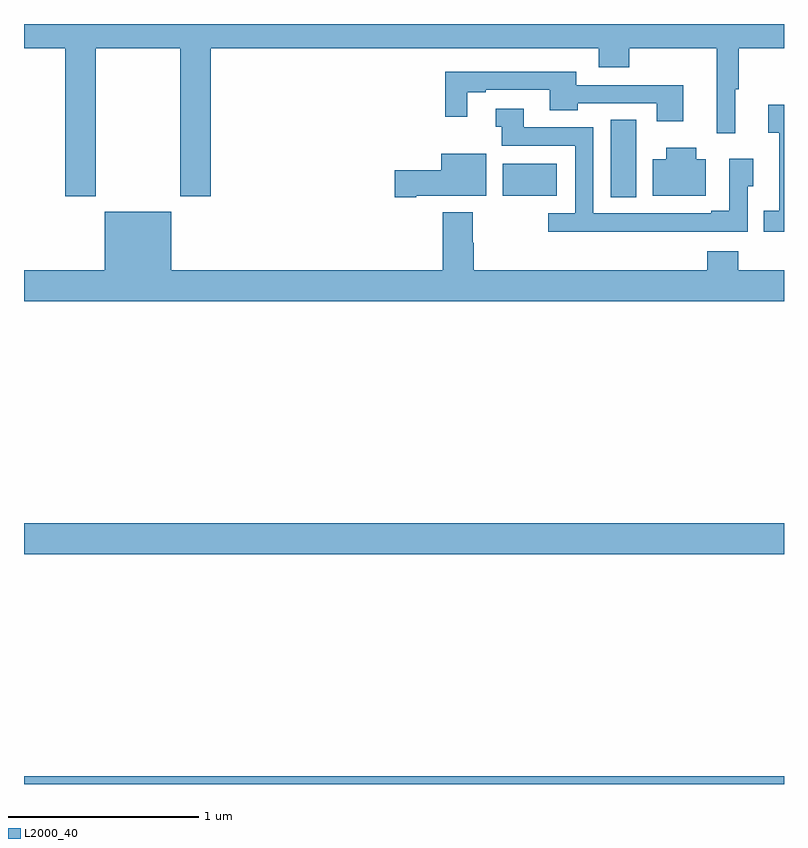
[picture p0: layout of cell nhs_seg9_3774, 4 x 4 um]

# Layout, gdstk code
import gdstk
lib = gdstk.Library(unit=1e-6, precision=1e-09)
def R(c, l, rs):  # rectangles x0, y0, x1, y1
    for r in rs: c.add(gdstk.rectangle(r[:2], r[2:], *l))
def P(c, l, *ps):  # polygons
    for p in ps: c.add(gdstk.Polygon(p, *l))
L2000_40 = (2000, 40)

nhs_seg9_3774 = lib.new_cell('nhs_seg9_3774')
R(nhs_seg9_3774, L2000_40, [(325,1240.5,329,1240.54), (325,1241.708,329,1241.872), (328.088,1243.588,328.222,1243.997), (327.521,1243.595,327.805,1243.765)])
P(nhs_seg9_3774, L2000_40, [(325.377,1244.372),(325.822,1244.372),(325.822,1243.593),(325.982,1243.593),(325.982,1244.372),(328.025,1244.372),(328.025,1244.273),(328.185,1244.273),(328.185,1244.372),(328.646,1244.372),(328.646,1243.926),(328.744,1243.926),(328.744,1244.157),(328.763,1244.157),(328.763,1244.372),(329,1244.372),(329,1244.5),(325,1244.5),(325,1244.372),(325.217,1244.372),(325.217,1243.593),(325.377,1243.593)],
  [(328.471,1244.178),(327.907,1244.178),(327.907,1244.25),(327.217,1244.25),(327.217,1244.013),(327.334,1244.013),(327.334,1244.142),(327.43,1244.142),(327.43,1244.154),(327.767,1244.154),(327.767,1244.045),(327.915,1244.045),(327.915,1244.082),(328.331,1244.082),(328.331,1243.989),(328.471,1243.989)],
  [(329,1244.074),(328.917,1244.074),(328.917,1243.927),(328.976,1243.927),(328.976,1243.516),(328.894,1243.516),(328.894,1243.406),(329,1243.406)],
  [(328.511,1243.407),(328.809,1243.407),(328.809,1243.647),(328.837,1243.647),(328.837,1243.792),(328.713,1243.792),(328.713,1243.516),(328.616,1243.516),(328.616,1243.503),(327.996,1243.503),(327.996,1243.956),(327.631,1243.956),(327.631,1244.055),(327.483,1244.055),(327.483,1243.958),(327.514,1243.958),(327.514,1243.86),(327.9,1243.86),(327.9,1243.503),(327.759,1243.503),(327.759,1243.406),(328.511,1243.406)],
  [(328.588,1243.789),(328.537,1243.789),(328.537,1243.849),(328.379,1243.849),(328.379,1243.789),(328.31,1243.789),(328.31,1243.595),(328.588,1243.595)],
  [(327.064,1243.595),(327.433,1243.595),(327.433,1243.816),(327.197,1243.816),(327.197,1243.73),(326.952,1243.73),(326.952,1243.588),(327.064,1243.588)],
  [(329,1243.204),(328.76,1243.204),(328.76,1243.303),(328.595,1243.303),(328.595,1243.204),(327.368,1243.204),(327.368,1243.349),(327.363,1243.349),(327.363,1243.51),(327.203,1243.51),(327.203,1243.204),(325.774,1243.204),(325.774,1243.513),(325.424,1243.513),(325.424,1243.204),(325,1243.204),(325,1243.04),(329,1243.04)])

lib.write_gds('nhs_seg9_3774.gds')
